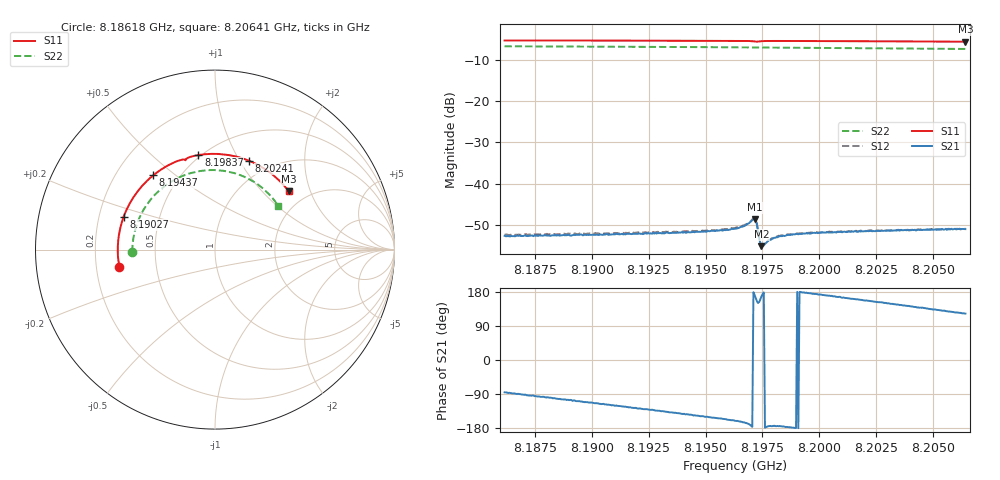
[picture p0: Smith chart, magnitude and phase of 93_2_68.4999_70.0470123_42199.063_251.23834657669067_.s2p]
#  HZ  S  RI  R  50.00
! Rohde & Schwarz Vector Network Analyzer
! Rohde-Schwarz,ZNB20-2Port,1311601062101988,3.16
! Created: UTC 3/20/2024, 5:07:53 PM
! freq[Hz]  re:S11  im:S11  re:S21  im:S21  re:S12  im:S12  re:S22  im:S22
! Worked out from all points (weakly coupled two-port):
!   401 points, 8.18618 GHz to 8.20641 GHz, reference 50 ohm
!   highest |S21| = -48.60 dB at 8.19715 GHz (marker M1); lowest = -55.1 dB at 8.19746 GHz (marker M2)
!   lowest |S11| = -5.6 dB at 8.20641 GHz (marker M3), VSWR 3.20, Z = 80.3 + j71.8 ohm
!   |S11| at or under -10 dB: nowhere
!   |S22| runs from -7.4 to -6.7 dB; largest |S21 - S12| = 0.00019
!   S11 on the Smith chart (normalised r, x): 8.18618 GHz: 0.30, -0.08; 8.19027 GHz: 0.31, +0.16; 8.19437 GHz: 0.36, +0.42; 8.19837 GHz: 0.49, +0.72; 8.20241 GHz: 0.80, +1.10; 8.20641 GHz: 1.61, +1.44
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8.186176e9  -0.5331 -0.0997  0.000195 -0.00233  0.000146 -0.00242  -0.4604 -0.0139
8.187947e9  -0.5412 0.0236  -0.000342 -0.00236  -0.000419 -0.00238  -0.4512 0.0838
8.189565e9  -0.5239 0.1353  -0.000812 -0.00227  -0.000867 -0.0023  -0.4243 0.1696
8.190274e9  -0.5089 0.1827  -0.000987 -0.00218  -0.00107 -0.00227  -0.4074 0.2052
8.192955e9  -0.4149 0.3446  -0.00174 -0.00181  -0.00184 -0.00179  -0.3171 0.3234
8.194371e9  -0.3437 0.4143  -0.0021 -0.0015  -0.00219 -0.00144  -0.2547 0.3719
8.195534e9  -0.2761 0.461  -0.00242 -0.00119  -0.00248 -0.00114  -0.1976 0.4035
8.196293e9  -0.2279 0.4857  -0.00268 -0.000948  -0.00277 -0.00088  -0.158 0.419
8.196698e9  -0.2004 0.4966  -0.00295 -0.000824  -0.00306 -0.000665  -0.1362 0.426
8.197052e9  -0.1731 0.5023  -0.00361 -0.000224  -0.00368 -5.98e-05  -0.1169 0.4309
8.197153e9  -0.1656 0.5005  -0.00368 0.000536  -0.00374 0.000669  -0.1112 0.4323
8.197204e9  -0.1637 0.4985  -0.00347 0.00104  -0.0035 0.00117  -0.1084 0.4327
8.197406e9  -0.1608 0.505  -0.00179 0.000648  -0.00175 0.000706  -0.0978 0.4352
8.197457e9  -0.1576 0.5076  -0.00171 0.000358  -0.00177 0.00044  -0.095 0.4357
8.197558e9  -0.1504 0.5117  -0.00178 5.47e-05  -0.00183 0.000131  -0.0893 0.4368
8.197912e9  -0.1245 0.5201  -0.00212 -0.000196  -0.00218 -0.000149  -0.0693 0.4398
8.198367e9  -0.0921 0.5268  -0.00231 -0.00019  -0.00237 -0.00012  -0.0435 0.4424
8.199682e9  0.00124 0.5335  -0.00252 0.000231  -0.00253 0.000324  0.031 0.4409
8.202414e9  0.1894 0.495  -0.00239 0.00117  -0.00237 0.00126  0.1803 0.3976
8.203071e9  0.2319 0.4757  -0.00232 0.0014  -0.00225 0.00146  0.2135 0.3794
8.204538e9  0.319 0.4194  -0.00204 0.00184  -0.00196 0.00196  0.2812 0.3283
8.20641e9  0.4112 0.3244  -0.00151 0.00237  -0.00144 0.00245  0.3515 0.2442
